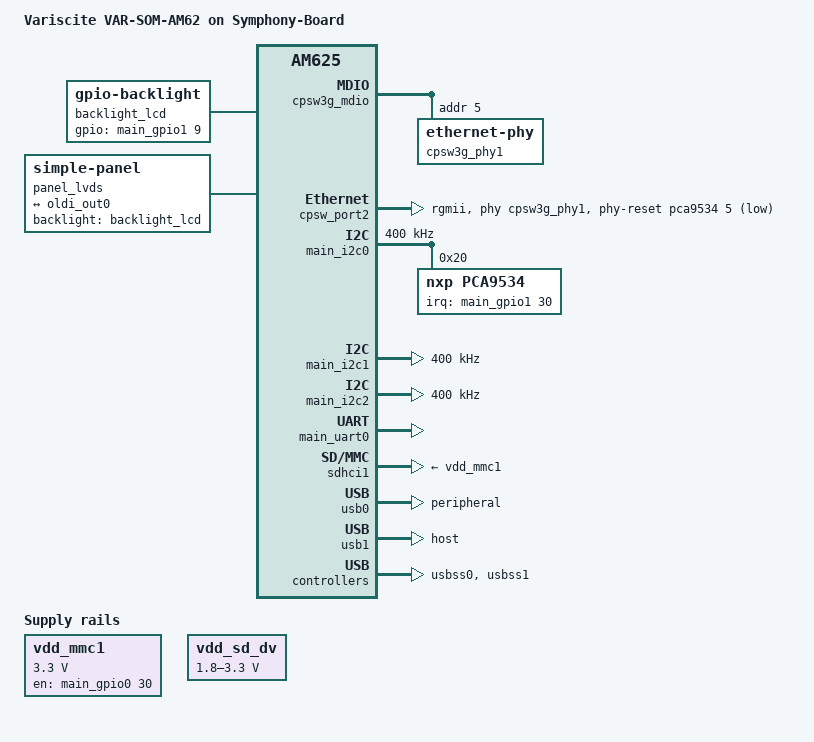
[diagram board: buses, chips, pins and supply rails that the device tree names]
// SPDX-License-Identifier: GPL-2.0
/*
 * VAR-SOM-AM62
 *
 * Copyright (C) 2021-2022 Texas Instruments Incorporated - https://www.ti.com/
 * Copyright (C) 2023-2024 Variscite Ltd. - https://www.variscite.com/
 */

/dts-v1/;

#include "k3-am625-var-som.dtsi"

/ {
	compatible =  "ti,am625-sk", "ti,am625";
	model = "Variscite VAR-SOM-AM62 on Symphony-Board";

	backlight_lcd: backlight-lcd {
		compatible = "gpio-backlight";
		pinctrl-names = "default";
		pinctrl-0 = <&lcd_backlight_pins_default>;
		gpios = <&main_gpio1 9 GPIO_ACTIVE_HIGH>;
		default-on;
	};

	chosen {
		stdout-path = "serial2:115200n8";
		bootargs = "console=ttyS2,115200n8 earlycon=ns16550a,mmio32,0x02800000";
	};

	panel_lvds: panel-lvds {
		bootph-pre-ram;
		compatible = "simple-panel";
		status= "okay";
		backlight = <&backlight_lcd>;
		width-mm = <153>;
		height-mm = <86>;
		data-mapping = "jeida-24";
		panel-timings {
			bootph-pre-ram;
			clock-frequency = <30000>;
			hactive = <800>;
			vactive = <480>;
			hback-porch = <40>;
			hfront-porch = <40>;
			vback-porch = <29>;
			vfront-porch = <13>;
			hsync-len = <48>;
			vsync-len = <3>;
			de-active = <1>;
		};
		port@0 {
			lcd_in0: endpoint {
				remote-endpoint = <&oldi_out0>;
			};
		};
	};

	vdd_mmc1: regulator-3 {
		compatible = "regulator-fixed";
		regulator-name = "SD_power_en";
		pinctrl-names = "default";
		pinctrl-0 = <&vdd_mmc1_pins_default>;
		regulator-min-microvolt = <3300000>;
		regulator-max-microvolt = <3300000>;
		regulator-boot-on;
		enable-active-high;
		gpio = <&main_gpio0 30 GPIO_ACTIVE_HIGH>;
	};

	vdd_sd_dv: gpio-regulator-4 {
		compatible = "regulator-gpio";
		regulator-name = "SD_voltage_sel";
		pinctrl-names = "default";
		pinctrl-0 = <&vdd_sd_dv_pins_default>;
		regulator-min-microvolt = <1800000>;
		regulator-max-microvolt = <3300000>;
		regulator-boot-on;
		gpios = <&main_gpio0 56 GPIO_ACTIVE_HIGH>;
		states = <1800000 0x0>,
			 <3300000 0x1>;
	};
};

&cpsw3g_mdio {
	cpsw3g_phy1: ethernet-phy@5 {
		reg = <5>;
	};
};

&cpsw_port2 {
	status = "okay";
	phy-mode = "rgmii";
	phy-handle = <&cpsw3g_phy1>;
	phy-reset-gpios = <&pca9534 5 GPIO_ACTIVE_LOW>;
	phy-reset-duration = <10>;
	phy-reset-post-delay = <20>;
};

&dss {
	pinctrl-names = "default";
	pinctrl-0 = <&main_oldi0_pins_default>;
};

&dss_ports {
	#address-cells = <1>;
	#size-cells = <0>;
	/* VP1: LVDS Output (OLDI TX 0) */
	port@0 {
		reg = <0>;
		oldi_out0: endpoint {
			remote-endpoint = <&lcd_in0>;
		};
	};
};

&main_i2c0 {
	status = "okay";
	pinctrl-names = "default";
	pinctrl-0 = <&main_i2c0_pins_default>;
	clock-frequency = <400000>;

	/* GPIO expander */
	pca9534: gpio@20 {
		compatible = "nxp,pca9534";
		reg = <0x20>;
		gpio-controller;
		pinctrl-names = "default";
		interrupt-parent = <&main_gpio1>;
		interrupts = <30 IRQ_TYPE_EDGE_FALLING>;
		#gpio-cells = <2>;
		wakeup-source;
		status = "okay";

		usb3_sel_hog {
			gpio-hog;
			gpios = <4 GPIO_ACTIVE_HIGH>;
			output-low;
			line-name = "usb3_sel";
		};

		eth_som_vselect_hog {
			gpio-hog;
			gpios = <6 GPIO_ACTIVE_HIGH>;
			output-low;
			line-name = "eth-vselect";
		};

		eth_mdio_enable_hog {
			gpio-hog;
			gpios = <7 GPIO_ACTIVE_HIGH>;
			output-high;
			line-name = "eth-mdio-enable";
		};
	};
};

&main_i2c1 {
	status = "okay";
	pinctrl-names = "default";
	pinctrl-0 = <&main_i2c1_pins_default>;
	clock-frequency = <400000>;
};

&main_i2c2 {
	status = "okay";
	pinctrl-names = "default";
	pinctrl-0 = <&main_i2c2_pins_default>;
	clock-frequency = <400000>;
};

&main_pmx0 {
	lcd_backlight_pins_default: lcd-backlight-pins-default {
		pinctrl-single,pins = <
			AM62X_IOPAD(0x19c, PIN_INPUT_PULLUP, 0) /* (B18) GPIO_1_9 */
		>;
	};

	main_i2c0_pins_default: main-i2c0-pins-default {
		pinctrl-single,pins = <
			AM62X_IOPAD(0x1e0, PIN_INPUT_PULLUP, 0) /* (B16) I2C0_SCL */
			AM62X_IOPAD(0x1e4, PIN_INPUT_PULLUP, 0) /* (A16) I2C0_SDA */
		>;
	};

	main_i2c1_pins_default: main-i2c1-pins-default {
		pinctrl-single,pins = <
			AM62X_IOPAD(0x1e8, PIN_INPUT_PULLUP, 0) /* (B17) I2C1_SCL */
			AM62X_IOPAD(0x1ec, PIN_INPUT_PULLUP, 0) /* (A17) I2C1_SDA */
		>;
	};

	main_i2c2_pins_default: main-i2c2-pins-default {
		pinctrl-single,pins = <
			AM62X_IOPAD(0x0b0, PIN_INPUT_PULLUP, 1) /* (K22) GPMC0_CSn2.I2C2_SCL */
			AM62X_IOPAD(0x0b4, PIN_INPUT_PULLUP, 1) /* (K24) GPMC0_CSn3.I2C2_SDA */
		>;
	};

	main_mmc1_pins_default: main-mmc1-pins-default {
		pinctrl-single,pins = <
			AM62X_IOPAD(0x23c, PIN_INPUT, 0) /* (A21) MMC1_CMD */
			AM62X_IOPAD(0x234, PIN_INPUT, 0) /* (B22) MMC1_CLK */
			AM62X_IOPAD(0x230, PIN_INPUT, 0) /* (A22) MMC1_DAT0 */
			AM62X_IOPAD(0x22c, PIN_INPUT, 0) /* (B21) MMC1_DAT1 */
			AM62X_IOPAD(0x228, PIN_INPUT, 0) /* (C21) MMC1_DAT2 */
			AM62X_IOPAD(0x224, PIN_INPUT, 0) /* (D22) MMC1_DAT3 */
			AM62X_IOPAD(0x240, PIN_INPUT, 0) /* (D17) MMC1_SDCD */
		>;
	};

	main_oldi0_pins_default: main-oldi0-pins-default {
		pinctrl-single,pins = <
			AM62X_IOPAD(0x0260, PIN_INPUT, 0) /* (AA5) OLDI0_A0N */
			AM62X_IOPAD(0x025c, PIN_OUTPUT, 0) /* (Y6) OLDI0_A0P */
			AM62X_IOPAD(0x0268, PIN_OUTPUT, 0) /* (AD3) OLDI0_A1N */
			AM62X_IOPAD(0x0264, PIN_OUTPUT, 0) /* (AB4) OLDI0_A1P */
			AM62X_IOPAD(0x0270, PIN_OUTPUT, 0) /* (Y8) OLDI0_A2N */
			AM62X_IOPAD(0x026c, PIN_OUTPUT, 0) /* (AA8) OLDI0_A2P */
			AM62X_IOPAD(0x0278, PIN_OUTPUT, 0) /* (AB6) OLDI0_A3N */
			AM62X_IOPAD(0x0274, PIN_OUTPUT, 0) /* (AA7) OLDI0_A3P */
			AM62X_IOPAD(0x0280, PIN_OUTPUT, 0) /* (AC6) OLDI0_A4N */
			AM62X_IOPAD(0x027c, PIN_OUTPUT, 0) /* (AC5) OLDI0_A4P */
			AM62X_IOPAD(0x0288, PIN_OUTPUT, 0) /* (AE5) OLDI0_A5N */
			AM62X_IOPAD(0x0284, PIN_OUTPUT, 0) /* (AD6) OLDI0_A5P */
			AM62X_IOPAD(0x0290, PIN_OUTPUT, 0) /* (AE6) OLDI0_A6N */
			AM62X_IOPAD(0x028c, PIN_OUTPUT, 0) /* (AD7) OLDI0_A6P */
			AM62X_IOPAD(0x0298, PIN_OUTPUT, 0) /* (AD8) OLDI0_A7N */
			AM62X_IOPAD(0x0294, PIN_OUTPUT, 0) /* (AE7) OLDI0_A7P */
			AM62X_IOPAD(0x02a0, PIN_OUTPUT, 0) /* (AD4) OLDI0_CLK0N */
			AM62X_IOPAD(0x029c, PIN_OUTPUT, 0) /* (AE3) OLDI0_CLK0P */
			AM62X_IOPAD(0x02a8, PIN_OUTPUT, 0) /* (AE4) OLDI0_CLK1N */
			AM62X_IOPAD(0x02a4, PIN_OUTPUT, 0) /* (AD5) OLDI0_CLK1P */
		>;
	};

	main_uart0_pins_default: main-uart0-pins-default {
		pinctrl-single,pins = <
			AM62X_IOPAD(0x1c8, PIN_INPUT, 0) /* (D14) UART0_RXD */
			AM62X_IOPAD(0x1cc, PIN_OUTPUT, 0) /* (E14) UART0_TXD */
		>;
	};

	main_usb1_pins_default: main-usb1-pins-default {
		pinctrl-single,pins = <
			AM62X_IOPAD(0x0258, PIN_OUTPUT, 0) /* (F18) USB1_DRVVBUS */
		>;
	};

	vdd_mmc1_pins_default: vdd-mmc1-pins-default {
		pinctrl-single,pins = <
			AM62X_IOPAD(0x0078, PIN_OUTPUT, 7) /* (U24) GPMC0_AD15.GPIO0_30 */
		>;
	};

	vdd_sd_dv_pins_default: vdd-sd-dv-pins-default {
		pinctrl-single,pins = <
			AM62X_IOPAD(0x00e4, PIN_OUTPUT, 7) /* (AA23) VOUT0_DATA11.GPIO0_56 */
		>;
	};
};

&main_uart0 {
	status = "okay";
	pinctrl-names = "default";
	pinctrl-0 = <&main_uart0_pins_default>;
};

&main_uart1 {
	/* Main UART1 is used by TIFS firmware */
	status = "reserved";
};

&mcu_i2c0 {
	status = "disabled";
};

&mcu_uart0 {
	status = "disabled";
};

/* SD card */
&sdhci1 {
	status = "okay";
	vmmc-supply = <&vdd_mmc1>;
	vqmmc-supply = <&vdd_sd_dv>;
	pinctrl-names = "default";
	pinctrl-0 = <&main_mmc1_pins_default>;
	disable-wp;
};

&usb0 {
	dr_mode = "peripheral";
};

&usb1 {
	dr_mode = "host";
	pinctrl-names = "default";
	pinctrl-0 = <&main_usb1_pins_default>;
};

&usbss0 {
	status = "okay";
	ti,vbus-divider;
};

&usbss1 {
	status = "okay";
};

&wkup_i2c0 {
	status = "disabled";
};

&wkup_uart0 {
	/* WKUP UART0 is used by DM firmware */
	status = "reserved";
};
